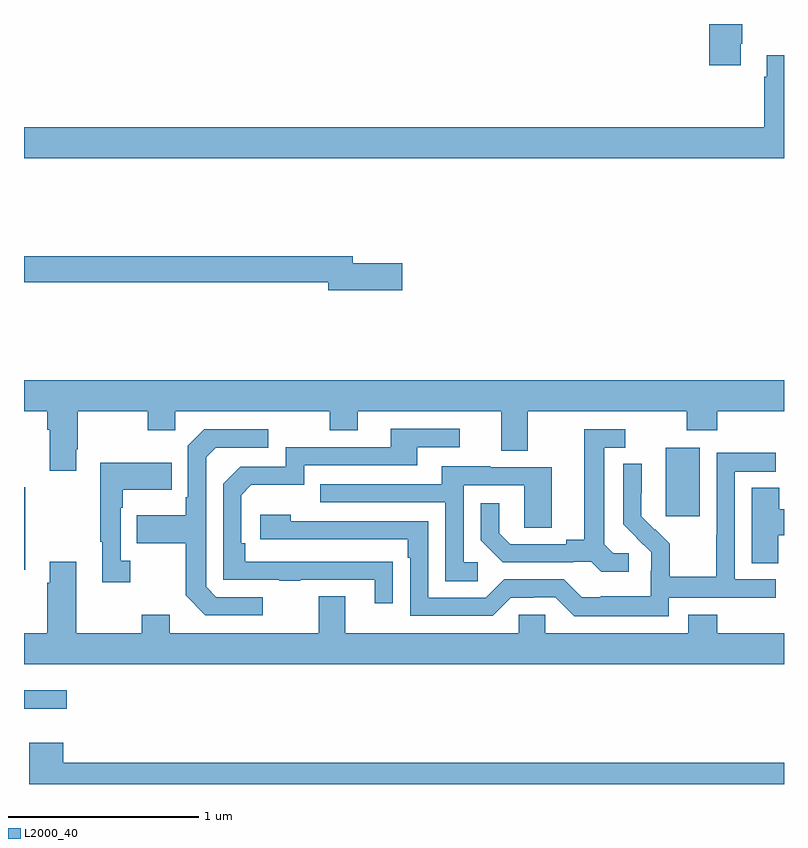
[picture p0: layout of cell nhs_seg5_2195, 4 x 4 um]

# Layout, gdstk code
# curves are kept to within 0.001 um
import gdstk
lib = gdstk.Library(unit=1e-6, precision=1e-09)
def R(c, l, rs):  # rectangles x0, y0, x1, y1
    for r in rs: c.add(gdstk.rectangle(r[:2], r[2:], *l))
def P(c, l, *ps):  # polygons
    for p in ps: c.add(gdstk.Polygon(p, *l))
L2000_40 = (2000, 40)

nhs_seg5_2195 = lib.new_cell('nhs_seg5_2195')
R(nhs_seg5_2195, L2000_40, [(239,855.195,239.224,855.292), (239,855.926,239.007,856.361), (242.378,856.209,242.557,856.57)])
P(nhs_seg5_2195, L2000_40, [(242.773,858.694),(242.781,858.694),(242.781,858.799),(242.606,858.799),(242.606,858.582),(242.773,858.582)],
  [(243,858.634),(242.909,858.634),(242.909,858.521),(242.897,858.521),(242.897,858.256),(239,858.256),(239,858.092),(243,858.092)],
  [(240.991,857.54),(240.73,857.54),(240.73,857.576),(239,857.576),(239,857.44),(240.602,857.44),(240.602,857.398),(240.991,857.398)],
  [(239.275,856.561),(239.283,856.561),(239.283,856.76),(239.65,856.76),(239.65,856.661),(239.796,856.661),(239.796,856.76),(240.61,856.76),(240.61,856.661),(240.757,856.661),(240.757,856.76),(241.511,856.76),(241.511,856.552),(241.651,856.552),(241.651,856.76),(242.488,856.76),(242.488,856.661),(242.648,856.661),(242.648,856.76),(243,856.76),(243,856.924),(239,856.924),(239,856.76),(239.123,856.76),(239.123,856.664),(239.135,856.664),(239.135,856.449),(239.275,856.449)],
  [(240.941,855.968),(240.164,855.969),(240.164,856.066),(240.144,856.066),(240.144,856.32),(240.197,856.373),(240.474,856.373),(240.474,856.476),(241.069,856.476),(241.069,856.572),(241.294,856.572),(241.294,856.668),(240.929,856.668),(240.929,856.572),(240.378,856.572),(240.378,856.47),(240.138,856.47),(240.048,856.38),(240.048,855.873),(240.343,855.873),(240.343,855.868),(240.455,855.868),(240.455,855.873),(240.845,855.873),(240.845,855.75),(240.941,855.75)],
  [(242.182,856.014),(242.1,856.014),(242.053,856.061),(242.053,856.569),(242.164,856.569),(242.164,856.665),(241.949,856.665),(241.949,856.085),(241.853,856.085),(241.853,856.062),(241.558,856.062),(241.501,856.119),(241.501,856.276),(241.404,856.276),(241.404,856.082),(241.52,855.966),(241.892,855.966),(241.892,855.969),(241.986,855.969),(242.038,855.917),(242.182,855.917)],
  [(240.256,855.783),(240.012,855.783),(239.958,855.837),(239.958,856.518),(240.009,856.569),(240.286,856.569),(240.286,856.665),(239.949,856.665),(239.862,856.578),(239.862,856.309),(239.85,856.309),(239.85,856.213),(239.593,856.213),(239.593,856.066),(239.85,856.066),(239.85,855.793),(239.955,855.687),(240.256,855.687)],
  [(242.394,855.78),(242.956,855.78),(242.956,855.876),(242.742,855.876),(242.742,856.443),(242.956,856.443),(242.956,856.542),(242.646,856.542),(242.646,856.112),(242.644,856.112),(242.644,855.889),(242.399,855.889),(242.399,856.063),(242.322,856.14),(242.319,856.137),(242.249,856.208),(242.25,856.484),(242.154,856.484),(242.154,856.166),(242.3,856.018),(242.3,855.921),(242.298,855.921),(242.298,855.787),(242.035,855.787),(242.035,855.783),(241.935,855.783),(241.842,855.876),(241.527,855.876),(241.431,855.78),(241.128,855.78),(241.128,856.182),(240.404,856.182),(240.404,856.216),(240.243,856.216),(240.243,856.086),(241.019,856.086),(241.019,855.989),(241.032,855.989),(241.032,855.684),(241.467,855.684),(241.563,855.78),(241.682,855.78),(241.682,855.783),(241.797,855.783),(241.897,855.683),(242.394,855.683)],
  [(239.56,855.974),(239.508,855.974),(239.508,856.253),(239.521,856.253),(239.521,856.349),(239.777,856.349),(239.777,856.489),(239.4,856.489),(239.4,856.073),(239.411,856.073),(239.411,855.861),(239.56,855.861)],
  [(241.387,855.966),(241.314,855.966),(241.314,856.371),(241.632,856.371),(241.632,856.147),(241.777,856.147),(241.777,856.467),(241.453,856.467),(241.453,856.471),(241.199,856.471),(241.199,856.377),(240.559,856.377),(240.559,856.281),(241.218,856.281),(241.218,855.865),(241.387,855.865)],
  [(242.97,856.108),(243,856.108),(243,856.244),(242.975,856.244),(242.975,856.358),(242.831,856.358),(242.831,855.961),(242.97,855.961)],
  [(243,855.592),(242.648,855.592),(242.648,855.691),(242.495,855.691),(242.495,855.592),(241.743,855.592),(241.743,855.69),(241.605,855.69),(241.605,855.592),(240.691,855.592),(240.691,855.787),(240.551,855.787),(240.551,855.592),(239.767,855.592),(239.767,855.691),(239.62,855.691),(239.62,855.592),(239.275,855.592),(239.275,855.97),(239.135,855.97),(239.135,855.857),(239.123,855.857),(239.123,855.592),(239,855.592),(239,855.428),(243,855.428)],
  [(243,854.912),(239.206,854.912),(239.206,855.016),(239.027,855.016),(239.027,854.799),(243,854.799)])

lib.write_gds('nhs_seg5_2195.gds')
